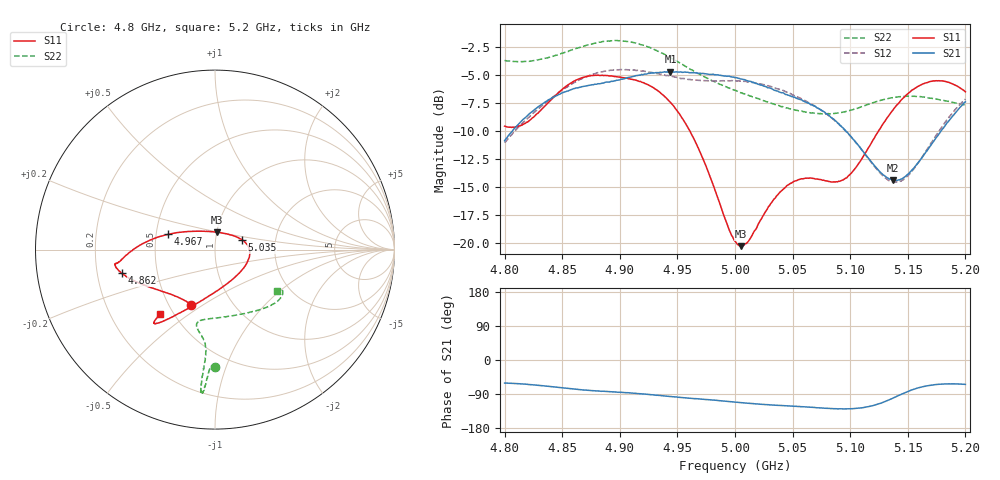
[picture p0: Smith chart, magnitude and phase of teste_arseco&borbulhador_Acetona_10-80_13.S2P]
! Network Analyzer HP8722D
! Hewlett-Packard
! Data name: Linha & Wilkinson
! Saver's name: Rodrigo Anjos
! Comments: Teste da utilização de aquisição
! continua pelo VNA HP8722D
! Time and date: 17/4/2025 14:28
!  Frequency  S11  S21  S12  S22
# HZ  S  MA R 50
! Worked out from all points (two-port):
!   401 points, 4.8 GHz to 5.2 GHz, reference 50 ohm
!   highest |S21| = -4.67 dB at 4.944 GHz (marker M1); lowest = -14.4 dB at 5.137 GHz (marker M2)
!   |S21| within 3 dB of the highest: 4.831 GHz to 5.067 GHz (236.4 MHz wide, 4.78 % of centre); 5.197047 GHz to end of sweep
!   lowest |S11| = -20.2 dB at 5.005 GHz (marker M3), VSWR 1.22, Z = 50 + j9.77 ohm
!   |S11| at or under -10 dB: 4.961 GHz to 5.124 GHz (163.3 MHz wide, 3.24 % of centre)
!   |S22| runs from -8.5 to -1.9 dB; largest |S21 - S12| = 0.87
!   S11 on the Smith chart (normalised r, x): 4.8 GHz: 0.65, -0.44; 4.862 GHz: 0.31, -0.11; 4.967 GHz: 0.58, +0.11; 5.035 GHz: 1.34, +0.15; 5.2 GHz: 0.42, -0.39
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4.8e9  0.3337 -113.4  0.2874 -60.9  0.2816 -174.9  0.6562 -90.0
4.819e9  0.347 -133.3  0.3684 -64.0  0.3573 -173.5  0.6499 -91.7
4.862e9  0.5357 -165.7  0.4948 -76.9  0.5275 -176.9  0.742 -93.8
4.867e9  0.5482 -167.5  0.5007 -78.8  0.5429 -177.7  0.7556 -94.0
4.898e9  0.5542 -172.1  0.5353 -84.9  0.5949 175.9  0.8048 -95.2
4.934e9  0.4764 -178.2  0.5787 -93.6  0.5721 171.7  0.7182 -95.8
4.944e9  0.4261 177.4  0.5844 -96.2  0.5562 171.9  0.6753 -95.5
4.967e9  0.2745 161.9  0.5765 -102.3  0.5347 173.9  0.5764 -95.1
5e9  0.1023 102.0  0.5492 -111.2  0.5318 176.3  0.4827 -99.3
5.005e9  0.0972 84.5  0.5416 -112.4  0.5298 176.1  0.4704 -100.4
5.012e9  0.1029 61.6  0.5298 -114.3  0.5251 176.0  0.4578 -101.9
5.035e9  0.1596 20.2  0.4821 -119.3  0.4939 174.9  0.4171 -103.3
5.05e9  0.1876 4.7  0.4521 -122.0  0.4602 174.1  0.3967 -99.6
5.067e9  0.1952 -13.4  0.4152 -125.0  0.4166 173.7  0.3826 -90.9
5.087e9  0.188 -45.4  0.3531 -128.7  0.3516 173.5  0.3809 -75.7
5.098e9  0.1992 -68.0  0.3109 -128.7  0.31 174.6  0.39 -66.6
5.134e9  0.3752 -116.2  0.194 -104.8  0.1905 -157.9  0.4448 -43.0
5.137e9  0.3931 -118.1  0.1911 -100.9  0.1883 -153.0  0.4477 -41.7
5.15e9  0.4655 -124.1  0.2033 -83.1  0.2001 -132.8  0.4539 -36.7
5.17e9  0.5292 -128.8  0.274 -66.4  0.2798 -112.6  0.4454 -32.0
5.184e9  0.5259 -130.1  0.3452 -63.1  0.3568 -107.3  0.432 -31.0
5.2e9  0.4752 -130.5  0.4287 -64.3  0.441 -106.5  0.4153 -33.3
